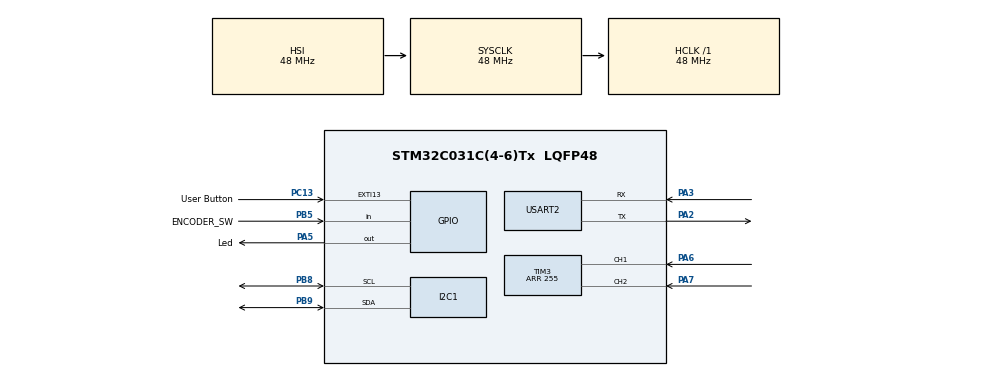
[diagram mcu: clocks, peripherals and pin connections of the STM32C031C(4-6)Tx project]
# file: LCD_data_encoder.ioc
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I2C1.Timing=0x20303E5D
Mcu.Family=STM32C0
Mcu.Name=STM32C031C(4-6)Tx
Mcu.Package=LQFP48
NVIC.EXTI4_15_IRQn=true\:0\:0\:false\:false\:true\:true\:true\:true
PA13.Mode=Serial_Wire
PA13.Signal=DEBUG_SWDIO
PA14-BOOT0.Mode=Serial_Wire
PA14-BOOT0.Signal=DEBUG_SWCLK
PA2.Mode=Asynchronous
PA2.Signal=USART2_TX
PA3.Mode=Asynchronous
PA3.Signal=USART2_RX
PA5.GPIO_Label=Led
PA5.GPIO_Speed=GPIO_SPEED_FREQ_VERY_HIGH
PA5.PinState=GPIO_PIN_SET
PA5.Signal=GPIO_Output
PA6.Signal=S_TIM3_CH1
PA7.Signal=S_TIM3_CH2
PB5.GPIO_Label=ENCODER_SW
PB5.Signal=GPIO_Input
PB8.Mode=I2C
PB8.Signal=I2C1_SCL
PB9.Mode=I2C
PB9.Signal=I2C1_SDA
PC13.GPIO_Label=User Button
PC13.Signal=GPXTI13
PC14-OSCX_IN\ (PC14).Mode=LSE-External-Oscillator
PC14-OSCX_IN\ (PC14).Signal=RCC_OSCX_IN
PC15-OSCX_OUT\ (PC15).Mode=LSE-External-Oscillator
PC15-OSCX_OUT\ (PC15).Signal=RCC_OSCX_OUT
PF0-OSC_IN\ (PF0).Mode=HSE-External-Oscillator
PF0-OSC_IN\ (PF0).Signal=RCC_OSC_IN
PF1-OSC_OUT\ (PF1).Mode=HSE-External-Oscillator
PF1-OSC_OUT\ (PF1).Signal=RCC_OSC_OUT
ProjectManager.HeapSize=0x200
ProjectManager.StackSize=0x400
ProjectManager.TargetToolchain=STM32CubeIDE
RCC.ADCFreq_Value=48000000
RCC.AHBFreq_Value=48000000
RCC.CortexFreq_Value=48000000
RCC.EXTERNAL_CLOCK_VALUE=12288000
RCC.HCLKFreq_Value=48000000
RCC.HSE_VALUE=48000000
RCC.HSISYSCLKDivider=RCC_HSI_DIV1
RCC.HSI_VALUE=48000000
RCC.SYSCLKFreq_VALUE=48000000
SH.S_TIM3_CH1.0=TIM3_CH1,Encoder_Interface
SH.S_TIM3_CH2.0=TIM3_CH2,Encoder_Interface
TIM3.AutoReloadPreload=TIM_AUTORELOAD_PRELOAD_ENABLE
TIM3.EncoderMode=TIM_ENCODERMODE_TI12
TIM3.Period=255
USART2.VirtualMode-Asynchronous=VM_ASYNC
board=NUCLEO-C031C6

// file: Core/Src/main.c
/* USER CODE BEGIN Header */
/**
  ******************************************************************************
  * @file           : main.c
  * @brief          : Main program body
  ******************************************************************************
  * @attention
  *
  * Copyright (c) 2024 STMicroelectronics.
  * All rights reserved.
  *
  * This software is licensed under terms that can be found in the LICENSE file
  * in the root directory of this software component.
  * If no LICENSE file comes with this software, it is provided AS-IS.
  *
  ******************************************************************************
  */
/* USER CODE END Header */
#include "main.h"

/* USER CODE BEGIN Includes */
#include "LCD_I2C.h"
#include "stdio.h"
#include "LCD_Menu_Data.h"
#include "encoder.h"

/* USER CODE END Includes */

I2C_HandleTypeDef hi2c1;

TIM_HandleTypeDef htim3;

UART_HandleTypeDef huart2;

/* USER CODE BEGIN PV */
LCD_HandleTypeDef hlcd;

ENC_Handle encoder;

/* USER CODE END PV */

void SystemClock_Config(void);
static void MX_GPIO_Init(void);
static void MX_I2C1_Init(void);
static void MX_USART2_UART_Init(void);
static void MX_TIM3_Init(void);

/* USER CODE BEGIN 0 */

volatile uint32_t counter = 0;
uint32_t prev_count = 0;

/* USER CODE END 0 */

int main(void)
{
  /* USER CODE BEGIN 1 */

	LCD_MENU_Data dataItem;

  /* USER CODE END 1 */

  /* MCU Configuration--------------------------------------------------------*/

  /* Reset of all peripherals, Initializes the Flash interface and the Systick. */
  HAL_Init();

  /* Configure the system clock */
  SystemClock_Config();

  /* Initialize all configured peripherals */
  MX_GPIO_Init();
  MX_I2C1_Init();
  MX_USART2_UART_Init();
  MX_TIM3_Init();
  /* USER CODE BEGIN 2 */
  ENC_Init(&encoder, &htim3, GPIOB, GPIO_PIN_5);
  LCD_Init(&hlcd, &hi2c1, 0x20);

  LCD_Print(&hlcd, "Hello World!");

  LCD_SetCursor(&hlcd, 1, 1);
  LCD_Print(&hlcd, "Count: ");

  LCD_MENU_DataInit(&dataItem, &hlcd, 1, 17);

  uint8_t dir;
  uint8_t prevEncVal = 0;

  uint8_t button_state = 0;
  uint8_t encoder_count = 0;

  uint8_t state = 0;

  /* USER CODE END 2 */

  /* Infinite loop */
  /* USER CODE BEGIN WHILE */
  while (1)
  {
	  button_state = ENC_ReadSwitch(&encoder);
	  encoder_count = ENC_GetCount(&encoder);
	  dir = ENC_GetDirection(&encoder);

	  if(button_state == 1 && state == 0) {
		  state = 1;
		  LCD_SetCursor(&hlcd, 0, 1);
		  LCD_Print(&hlcd, ">");
	  }

	  else if (state == 1) {
		  if (button_state) {
			  state = 0;
			  LCD_SetCursor(&hlcd, 0, 1);
			  LCD_Print(&hlcd, " ");
		  }

		  LCD_MENU_DataIncrement(&dataItem, 1);

		  HAL_Delay(100);

		  if (prevEncVal != encoder_count && counter - prev_count > 100) {
			  LCD_MENU_DataIncrement(&dataItem, dir);
			  prev_count = counter;
			  prevEncVal = encoder_count;
		  }
	  }

    /* USER CODE END WHILE */

  }
}

void SystemClock_Config(void)
{
  RCC_OscInitTypeDef RCC_OscInitStruct = {0};
  RCC_ClkInitTypeDef RCC_ClkInitStruct = {0};

  /** Initializes the RCC Oscillators according to the specified parameters
  * in the RCC_OscInitTypeDef structure.
  */
  RCC_OscInitStruct.OscillatorType = RCC_OSCILLATORTYPE_HSI;
  RCC_OscInitStruct.HSIState = RCC_HSI_ON;
  RCC_OscInitStruct.HSIDiv = RCC_HSI_DIV1;
  RCC_OscInitStruct.HSICalibrationValue = RCC_HSICALIBRATION_DEFAULT;
  if (HAL_RCC_OscConfig(&RCC_OscInitStruct) != HAL_OK)
  {
    Error_Handler();
  }

  /** Initializes the CPU, AHB and APB buses clocks
  */
  RCC_ClkInitStruct.ClockType = RCC_CLOCKTYPE_HCLK|RCC_CLOCKTYPE_SYSCLK
                              |RCC_CLOCKTYPE_PCLK1;
  RCC_ClkInitStruct.SYSCLKSource = RCC_SYSCLKSOURCE_HSI;
  RCC_ClkInitStruct.SYSCLKDivider = RCC_SYSCLK_DIV1;
  RCC_ClkInitStruct.AHBCLKDivider = RCC_HCLK_DIV1;
  RCC_ClkInitStruct.APB1CLKDivider = RCC_APB1_DIV1;

  if (HAL_RCC_ClockConfig(&RCC_ClkInitStruct, FLASH_LATENCY_1) != HAL_OK)
  {
    Error_Handler();
  }
}

static void MX_I2C1_Init(void)
{

  hi2c1.Instance = I2C1;
  hi2c1.Init.Timing = 0x20303E5D;
  hi2c1.Init.OwnAddress1 = 0;
  hi2c1.Init.AddressingMode = I2C_ADDRESSINGMODE_7BIT;
  hi2c1.Init.DualAddressMode = I2C_DUALADDRESS_DISABLE;
  hi2c1.Init.OwnAddress2 = 0;
  hi2c1.Init.OwnAddress2Masks = I2C_OA2_NOMASK;
  hi2c1.Init.GeneralCallMode = I2C_GENERALCALL_DISABLE;
  hi2c1.Init.NoStretchMode = I2C_NOSTRETCH_DISABLE;
  if (HAL_I2C_Init(&hi2c1) != HAL_OK)
  {
    Error_Handler();
  }

  /** Configure Analogue filter
  */
  if (HAL_I2CEx_ConfigAnalogFilter(&hi2c1, I2C_ANALOGFILTER_ENABLE) != HAL_OK)
  {
    Error_Handler();
  }

  /** Configure Digital filter
  */
  if (HAL_I2CEx_ConfigDigitalFilter(&hi2c1, 0) != HAL_OK)
  {
    Error_Handler();
  }

}

static void MX_TIM3_Init(void)
{

  TIM_Encoder_InitTypeDef sConfig = {0};
  TIM_MasterConfigTypeDef sMasterConfig = {0};

  htim3.Instance = TIM3;
  htim3.Init.Prescaler = 0;
  htim3.Init.CounterMode = TIM_COUNTERMODE_UP;
  htim3.Init.Period = 255;
  htim3.Init.ClockDivision = TIM_CLOCKDIVISION_DIV1;
  htim3.Init.AutoReloadPreload = TIM_AUTORELOAD_PRELOAD_ENABLE;
  sConfig.EncoderMode = TIM_ENCODERMODE_TI12;
  sConfig.IC1Polarity = TIM_ICPOLARITY_RISING;
  sConfig.IC1Selection = TIM_ICSELECTION_DIRECTTI;
  sConfig.IC1Prescaler = TIM_ICPSC_DIV1;
  sConfig.IC1Filter = 0;
  sConfig.IC2Polarity = TIM_ICPOLARITY_RISING;
  sConfig.IC2Selection = TIM_ICSELECTION_DIRECTTI;
  sConfig.IC2Prescaler = TIM_ICPSC_DIV1;
  sConfig.IC2Filter = 0;
  if (HAL_TIM_Encoder_Init(&htim3, &sConfig) != HAL_OK)
  {
    Error_Handler();
  }
  sMasterConfig.MasterOutputTrigger = TIM_TRGO_RESET;
  sMasterConfig.MasterSlaveMode = TIM_MASTERSLAVEMODE_DISABLE;
  if (HAL_TIMEx_MasterConfigSynchronization(&htim3, &sMasterConfig) != HAL_OK)
  {
    Error_Handler();
  }

}

static void MX_USART2_UART_Init(void)
{

  huart2.Instance = USART2;
  huart2.Init.BaudRate = 115200;
  huart2.Init.WordLength = UART_WORDLENGTH_8B;
  huart2.Init.StopBits = UART_STOPBITS_1;
  huart2.Init.Parity = UART_PARITY_NONE;
  huart2.Init.Mode = UART_MODE_TX_RX;
  huart2.Init.HwFlowCtl = UART_HWCONTROL_NONE;
  huart2.Init.OverSampling = UART_OVERSAMPLING_16;
  huart2.Init.OneBitSampling = UART_ONE_BIT_SAMPLE_DISABLE;
  huart2.Init.ClockPrescaler = UART_PRESCALER_DIV1;
  huart2.AdvancedInit.AdvFeatureInit = UART_ADVFEATURE_NO_INIT;
  if (HAL_UART_Init(&huart2) != HAL_OK)
  {
    Error_Handler();
  }

}

static void MX_GPIO_Init(void)
{
  GPIO_InitTypeDef GPIO_InitStruct = {0};

  /* GPIO Ports Clock Enable */
  __HAL_RCC_GPIOC_CLK_ENABLE();
  __HAL_RCC_GPIOF_CLK_ENABLE();
  __HAL_RCC_GPIOA_CLK_ENABLE();
  __HAL_RCC_GPIOB_CLK_ENABLE();

  /*Configure GPIO pin Output Level */
  HAL_GPIO_WritePin(Led_GPIO_Port, Led_Pin, GPIO_PIN_SET);

  /*Configure GPIO pin : User_Button_Pin */
  GPIO_InitStruct.Pin = User_Button_Pin;
  GPIO_InitStruct.Mode = GPIO_MODE_IT_RISING;
  GPIO_InitStruct.Pull = GPIO_NOPULL;
  HAL_GPIO_Init(User_Button_GPIO_Port, &GPIO_InitStruct);

  /*Configure GPIO pin : Led_Pin */
  GPIO_InitStruct.Pin = Led_Pin;
  GPIO_InitStruct.Mode = GPIO_MODE_OUTPUT_PP;
  GPIO_InitStruct.Pull = GPIO_NOPULL;
  GPIO_InitStruct.Speed = GPIO_SPEED_FREQ_VERY_HIGH;
  HAL_GPIO_Init(Led_GPIO_Port, &GPIO_InitStruct);

  /*Configure GPIO pin : ENCODER_SW_Pin */
  GPIO_InitStruct.Pin = ENCODER_SW_Pin;
  GPIO_InitStruct.Mode = GPIO_MODE_INPUT;
  GPIO_InitStruct.Pull = GPIO_NOPULL;
  HAL_GPIO_Init(ENCODER_SW_GPIO_Port, &GPIO_InitStruct);

  /* EXTI interrupt init*/
  HAL_NVIC_SetPriority(EXTI4_15_IRQn, 0, 0);
  HAL_NVIC_EnableIRQ(EXTI4_15_IRQn);

}

void Error_Handler(void)
{
  __disable_irq();
  while (1)
  {
  }
}
